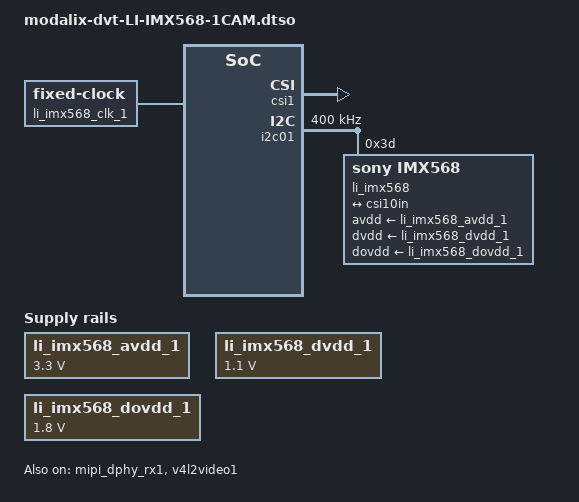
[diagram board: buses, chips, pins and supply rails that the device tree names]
// SPDX-License-Identifier: (GPL-2.0+ OR MIT)
/*
 * Copyright (c) 2026 SiMa ai
 *
 * li-imx568 (direct Sony imx568, sony,imx568) on modalix DVT csi1,
 * CSI-2 controller mode, i2c addr 0x3d, RAW12 1920x1080 first.
 */

/dts-v1/;
/plugin/;

&{/} {
    li_imx568_avdd_1: csi1_fixedregulator@0 {
        compatible = "regulator-fixed";
        regulator-name = "li_imx568_avdd_1";
        regulator-min-microvolt = <3300000>;
        regulator-max-microvolt = <3300000>;
        enable-active-high;
        startup-delay-us = <300000>;
        regulator-always-on;
    };
    li_imx568_dvdd_1: csi1_fixedregulator@1 {
        compatible = "regulator-fixed";
        regulator-name = "li_imx568_dvdd_1";
        regulator-min-microvolt = <1100000>;
        regulator-max-microvolt = <1100000>;
        regulator-always-on;
    };
    li_imx568_dovdd_1: csi1_fixedregulator@2 {
        compatible = "regulator-fixed";
        regulator-name = "li_imx568_dovdd_1";
        regulator-min-microvolt = <1800000>;
        regulator-max-microvolt = <1800000>;
        regulator-always-on;
    };
    li_imx568_clk_1: csi1_camera-clk {
        compatible = "fixed-clock";
        #clock-cells = <0>;
        clock-frequency = <37125000>;
    };
};

/* csi1 controller mode; bt-* porches are a 1080p starting point, tune per board. */
&csi1 {
    status = "okay";
    simaai,bt-pixelclock = /bits/ 64 <500000000>;
    simaai,bt-hsync = <2>;
    simaai,bt-hbackporch = <100>;
    simaai,bt-hfrontporch = <1548>;
    simaai,bt-vsync = <1>;
    simaai,bt-vbackporch = <68>;
    simaai,bt-vfrontporch = <1>;
    simaai,ipi-controller-mode = <1>;
    simaai,ipi-emb-data-enable = <0>;
};

&axi_vdma1 {
    status = "okay";
};

&mipi_dphy_rx1 {
    status = "okay";
};

&v4l2video1 {
    status = "okay";
};

&v4l2vdma1 {
    status = "okay";
};

&csi10in {
    clock-lanes = <0>;
    data-lanes = <1 2>;
    link-frequencies = /bits/ 64 <594000000>;
    remote-endpoint = <&cam10out>;
    clock-continuous;
};

&i2c01 {
    status = "okay";
    clock-frequency = <400000>;
    #address-cells = <1>;
    #size-cells = <0>;

    li_imx568: imx568@3d {
        compatible = "sony,imx568";
        /* sensor stream-on takes ~600 ms; do not free-run the IPI before it */
        simaai,ipi-enable-delay-ms = <800>;
        reg = <0x3d>;

        clocks = <&li_imx568_clk_1>;
        clock-names = "inck";

        avdd-supply = <&li_imx568_avdd_1>;
        dvdd-supply = <&li_imx568_dvdd_1>;
        dovdd-supply = <&li_imx568_dovdd_1>;

        port {
            cam10out: endpoint {
                clock-lanes = <0>;
                data-lanes = <1 2>;
                link-frequencies = /bits/ 64 <594000000>;
                remote-endpoint = <&csi10in>;
                clock-continuous;
            };
        };
    };
};
